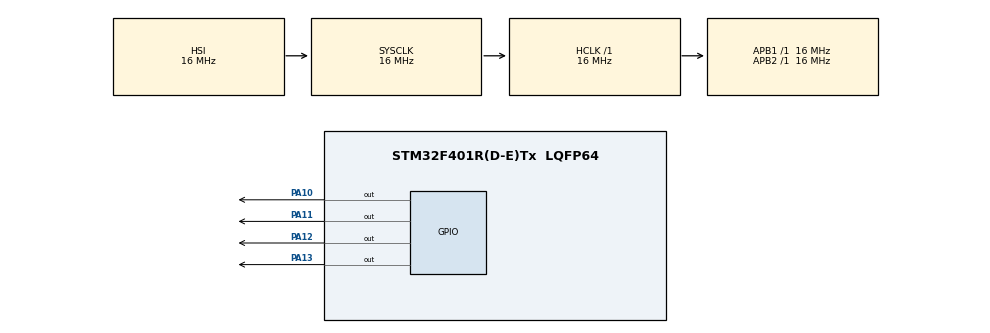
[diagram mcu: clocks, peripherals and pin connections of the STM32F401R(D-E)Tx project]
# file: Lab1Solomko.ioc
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Mcu.Family=STM32F4
Mcu.Name=STM32F401R(D-E)Tx
Mcu.Package=LQFP64
NVIC.PriorityGroup=NVIC_PRIORITYGROUP_4
PA10.PinState=GPIO_PIN_RESET
PA10.Signal=GPIO_Output
PA11.PinState=GPIO_PIN_RESET
PA11.Signal=GPIO_Output
PA12.PinState=GPIO_PIN_RESET
PA12.Signal=GPIO_Output
PA13.PinState=GPIO_PIN_RESET
PA13.Signal=GPIO_Output
ProjectManager.HeapSize=0x200
ProjectManager.StackSize=0x400
ProjectManager.TargetToolchain=STM32CubeIDE
RCC.AHBFreq_Value=16000000
RCC.APB1Freq_Value=16000000
RCC.APB2Freq_Value=16000000
RCC.CortexFreq_Value=16000000
RCC.HSE_VALUE=25000000
RCC.HSI_VALUE=16000000
RCC.LSE_VALUE=32768
RCC.SYSCLKFreq_VALUE=16000000
RCC.VCOOutputFreq_Value=192000000
board=custom

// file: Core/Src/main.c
/* USER CODE BEGIN Header */
/**
  ******************************************************************************
  * @file           : main.c
  * @brief          : Main program body
  ******************************************************************************
  * @attention
  *
  * Copyright (c) 2022 STMicroelectronics.
  * All rights reserved.
  *
  * This software is licensed under terms that can be found in the LICENSE file
  * in the root directory of this software component.
  * If no LICENSE file comes with this software, it is provided AS-IS.
  *
  ******************************************************************************
  */
/* USER CODE END Header */
#include "main.h"

void SystemClock_Config(void);
static void MX_GPIO_Init(void);

int main(void)
{

  /* MCU Configuration--------------------------------------------------------*/

  /* Reset of all peripherals, Initializes the Flash interface and the Systick. */
  HAL_Init();

  /* Configure the system clock */
  SystemClock_Config();

  /* Initialize all configured peripherals */
  MX_GPIO_Init();

  /* Infinite loop */
  while (1)
  {

    /* USER CODE BEGIN 3 */

	HAL_GPIO_WritePin(GPIOA, GPIO_PIN_10,1);
	  	  HAL_Delay(500);
	  	 HAL_GPIO_WritePin(GPIOA, GPIO_PIN_10,0);
	  		  	  HAL_Delay(500);

	  		  	 HAL_GPIO_WritePin(GPIOA, GPIO_PIN_11,1);
	  		  		  	  HAL_Delay(500);
	  		  		  HAL_GPIO_WritePin(GPIOA, GPIO_PIN_11,0);
	  		  		 	  	  HAL_Delay(500);

	  		  		 	 HAL_GPIO_WritePin(GPIOA, GPIO_PIN_12,1);
	  		  		 	 	  	  HAL_Delay(500);
	  		  		 	 	  	 HAL_GPIO_WritePin(GPIOA, GPIO_PIN_12,0);
	  		  		 	 	  		  	  HAL_Delay(500);

	  		  		 	 	  		  	 HAL_GPIO_WritePin(GPIOA, GPIO_PIN_13,1);
	  		  		 	 	  		  		  	  HAL_Delay(500);
	  		  		 	 	  		  		  HAL_GPIO_WritePin(GPIOA, GPIO_PIN_13,0);
	  		  		 	 	  		  		 	  	  HAL_Delay(500);
  }
  /* USER CODE END 3 */
}

void SystemClock_Config(void)
{
  RCC_OscInitTypeDef RCC_OscInitStruct = {0};
  RCC_ClkInitTypeDef RCC_ClkInitStruct = {0};

  /** Configure the main internal regulator output voltage
  */
  __HAL_RCC_PWR_CLK_ENABLE();
  __HAL_PWR_VOLTAGESCALING_CONFIG(PWR_REGULATOR_VOLTAGE_SCALE2);

  /** Initializes the RCC Oscillators according to the specified parameters
  * in the RCC_OscInitTypeDef structure.
  */
  RCC_OscInitStruct.OscillatorType = RCC_OSCILLATORTYPE_HSI;
  RCC_OscInitStruct.HSIState = RCC_HSI_ON;
  RCC_OscInitStruct.HSICalibrationValue = RCC_HSICALIBRATION_DEFAULT;
  RCC_OscInitStruct.PLL.PLLState = RCC_PLL_NONE;
  if (HAL_RCC_OscConfig(&RCC_OscInitStruct) != HAL_OK)
  {
    Error_Handler();
  }

  /** Initializes the CPU, AHB and APB buses clocks
  */
  RCC_ClkInitStruct.ClockType = RCC_CLOCKTYPE_HCLK|RCC_CLOCKTYPE_SYSCLK
                              |RCC_CLOCKTYPE_PCLK1|RCC_CLOCKTYPE_PCLK2;
  RCC_ClkInitStruct.SYSCLKSource = RCC_SYSCLKSOURCE_HSI;
  RCC_ClkInitStruct.AHBCLKDivider = RCC_SYSCLK_DIV1;
  RCC_ClkInitStruct.APB1CLKDivider = RCC_HCLK_DIV1;
  RCC_ClkInitStruct.APB2CLKDivider = RCC_HCLK_DIV1;

  if (HAL_RCC_ClockConfig(&RCC_ClkInitStruct, FLASH_LATENCY_0) != HAL_OK)
  {
    Error_Handler();
  }
}

static void MX_GPIO_Init(void)
{
  GPIO_InitTypeDef GPIO_InitStruct = {0};

  /* GPIO Ports Clock Enable */
  __HAL_RCC_GPIOA_CLK_ENABLE();

  /*Configure GPIO pin Output Level */
  HAL_GPIO_WritePin(GPIOA, GPIO_PIN_10|GPIO_PIN_11|GPIO_PIN_12|GPIO_PIN_13, GPIO_PIN_RESET);

  /*Configure GPIO pins : PA10 PA11 PA12 PA13 */
  GPIO_InitStruct.Pin = GPIO_PIN_10|GPIO_PIN_11|GPIO_PIN_12|GPIO_PIN_13;
  GPIO_InitStruct.Mode = GPIO_MODE_OUTPUT_PP;
  GPIO_InitStruct.Pull = GPIO_NOPULL;
  GPIO_InitStruct.Speed = GPIO_SPEED_FREQ_LOW;
  HAL_GPIO_Init(GPIOA, &GPIO_InitStruct);

}

void Error_Handler(void)
{
  __disable_irq();
  while (1)
  {
  }
}
